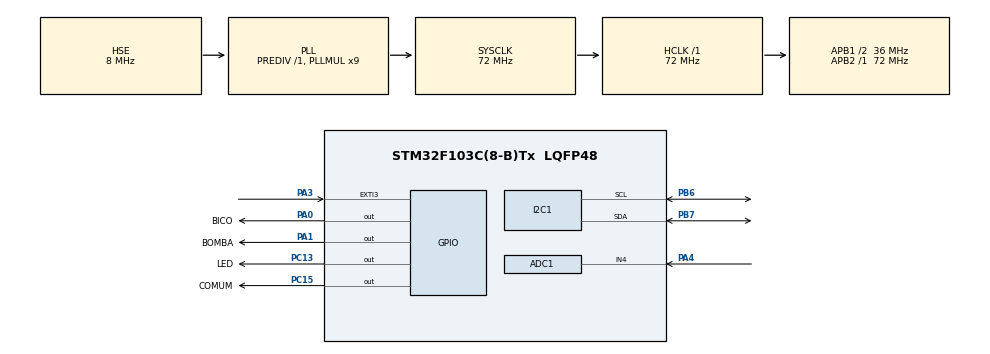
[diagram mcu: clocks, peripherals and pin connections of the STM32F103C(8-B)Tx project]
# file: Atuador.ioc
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ADC1.Channel-1\#ChannelRegularConversion=ADC_CHANNEL_4
ADC1.NbrOfConversionFlag=1
ADC1.Rank-1\#ChannelRegularConversion=1
ADC1.SamplingTime-1\#ChannelRegularConversion=ADC_SAMPLETIME_1CYCLE_5
ADC1.master=1
I2C1.I2C_Mode=I2C_Fast
Mcu.Family=STM32F1
Mcu.Name=STM32F103C(8-B)Tx
Mcu.Package=LQFP48
NVIC.EXTI3_IRQn=true\:0\:0\:false\:false\:true\:true\:true
NVIC.PriorityGroup=NVIC_PRIORITYGROUP_4
NVIC.TIM2_IRQn=true\:0\:0\:false\:false\:true\:true\:true
PA0-WKUP.GPIO_Label=BICO
PA0-WKUP.Signal=GPIO_Output
PA1.GPIO_Label=BOMBA
PA1.Signal=GPIO_Output
PA15.Signal=GPXTI15
PA3.GPIO_ModeDefaultEXTI=GPIO_MODE_IT_FALLING
PA3.GPIO_PuPd=GPIO_PULLUP
PA3.Signal=GPXTI3
PA4.Signal=ADCx_IN4
PB6.Mode=I2C
PB6.Signal=I2C1_SCL
PB7.Mode=I2C
PB7.Signal=I2C1_SDA
PC13-TAMPER-RTC.GPIO_Label=LED
PC13-TAMPER-RTC.Signal=GPIO_Output
PC15-OSC32_OUT.GPIO_Label=COMUM
PC15-OSC32_OUT.GPIO_PuPd=GPIO_PULLDOWN
PC15-OSC32_OUT.Signal=GPIO_Output
PD0-OSC_IN.Mode=HSE-External-Oscillator
PD0-OSC_IN.Signal=RCC_OSC_IN
PD1-OSC_OUT.Mode=HSE-External-Oscillator
PD1-OSC_OUT.Signal=RCC_OSC_OUT
ProjectManager.HeapSize=0x200
ProjectManager.StackSize=0x400
ProjectManager.TargetToolchain=STM32CubeIDE
RCC.ADCPresc=RCC_ADCPCLK2_DIV6
RCC.AHBFreq_Value=72000000
RCC.APB1CLKDivider=RCC_HCLK_DIV2
RCC.APB1Freq_Value=36000000
RCC.APB1TimFreq_Value=72000000
RCC.APB2Freq_Value=72000000
RCC.APB2TimFreq_Value=72000000
RCC.HCLKFreq_Value=72000000
RCC.PLLMUL=RCC_PLL_MUL9
RCC.PLLSourceVirtual=RCC_PLLSOURCE_HSE
RCC.SYSCLKFreq_VALUE=72000000
RCC.SYSCLKSource=RCC_SYSCLKSOURCE_PLLCLK
RCC.USBFreq_Value=72000000
SH.ADCx_IN4.0=ADC1_IN4,IN4
TIM2.AutoReloadPreload=TIM_AUTORELOAD_PRELOAD_ENABLE
TIM2.Period=72-1
TIM2.Prescaler=100-1
VP_SYS_VS_ND.Mode=No_Debug
VP_TIM2_VS_ClockSourceINT.Mode=Internal
board=custom

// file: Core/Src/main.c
/* USER CODE BEGIN Header */
/**
 ******************************************************************************
 * @file           : main.c
 * @brief          : Main program body
 ******************************************************************************
 * @attention
 *
 * <h2><center>&copy; Copyright (c) 2021 STMicroelectronics.
 * All rights reserved.</center></h2>
 *
 * This software component is licensed by ST under BSD 3-Clause license,
 * the "License"; You may not use this file except in compliance with the
 * License. You may obtain a copy of the License at:
 *                        opensource.org/licenses/BSD-3-Clause
 *
 ******************************************************************************
 */
/* USER CODE END Header */
#include "main.h"

/* USER CODE BEGIN Includes */
#include "fonts.h"
#include "bitmap.h"
#include "horse_anim.h"
#include "test.h"
#include <stdio.h>
#include "interval.h"
#include "timeout.h"
#include "ssd1306.h"
#include <stdbool.h>
/* USER CODE END Includes */

ADC_HandleTypeDef hadc1;

I2C_HandleTypeDef hi2c1;

TIM_HandleTypeDef htim2;

/* USER CODE BEGIN PV */

Interval intervalLed;
Interval RPMInterval;

Timeout timeoutBico;
Timeout timeoutBomba;

unsigned long int time = 0;

unsigned long int lastTimeOfPulse = 0;

int rpm = 0;

bool pulsedOnCurrentPulse = true;

/* USER CODE END PV */

void SystemClock_Config(void);
static void MX_GPIO_Init(void);
static void MX_I2C1_Init(void);
static void MX_TIM2_Init(void);
static void MX_ADC1_Init(void);

/* USER CODE BEGIN 0 */
void handleResetRpm() {
	if (time >= lastTimeOfPulse + 10000) {
		rpm = 0;
	}
}

void handleRpmInterval() {
	if (!pulsedOnCurrentPulse) {
		if (rpm < 850 && rpm > 0) {
			if (timeoutBico.timedOut) {
				timeoutBico.resetTimeout(&timeoutBico);
				pulsedOnCurrentPulse = true;
			}
		}
		if (rpm < 900 && rpm > 0) {
			timeoutBomba.resetTimeout(&timeoutBomba);
		}
	}
}

void handler() {
	timeoutBico.handleTimeout(&timeoutBico);
	timeoutBomba.handleTimeout(&timeoutBomba);
	RPMInterval.handle(&RPMInterval);
	handleResetRpm();
	intervalLed.handle(&intervalLed);
}

void HAL_TIM_PeriodElapsedCallback(TIM_HandleTypeDef *htim) {
	if (htim->Instance == TIM2) {
		time++;
		handler();
	}
}

void toggle() {
	HAL_GPIO_TogglePin(LED_GPIO_Port, LED_Pin);
}

void handlePulse() {
	rpm = (int) 300000 / (time - lastTimeOfPulse);
	lastTimeOfPulse = time;
	pulsedOnCurrentPulse = false;
}

void HAL_GPIO_EXTI_Callback(uint16_t GPIO_Pin) {
	if (GPIO_Pin == GPIO_PIN_3) {
		handlePulse();
	} else {
		__NOP();
	}
}

void onTimeOutBico() {
	HAL_GPIO_WritePin(BICO_GPIO_Port, BICO_Pin, GPIO_PIN_RESET);
}

void onResetBico() {
	HAL_GPIO_WritePin(BICO_GPIO_Port, BICO_Pin, GPIO_PIN_SET);
}

void onTimeOutBomba() {
	HAL_GPIO_WritePin(BOMBA_GPIO_Port, BOMBA_Pin, GPIO_PIN_RESET);
}

void onResetBomba() {
	HAL_GPIO_WritePin(BOMBA_GPIO_Port, BOMBA_Pin, GPIO_PIN_SET);
}

/* USER CODE END 0 */

int main(void)
{

  /* MCU Configuration--------------------------------------------------------*/

  /* Reset of all peripherals, Initializes the Flash interface and the Systick. */
  HAL_Init();

  /* Configure the system clock */
  SystemClock_Config();

  /* Initialize all configured peripherals */
  MX_GPIO_Init();
  MX_I2C1_Init();
  MX_TIM2_Init();
  MX_ADC1_Init();
  /* USER CODE BEGIN 2 */
	HAL_ADCEx_Calibration_Start(&hadc1);
	initializeInterval(&intervalLed, &time, 5000, toggle);
	initializeInterval(&RPMInterval, &time, 2000, handleRpmInterval);
	initializeTimeout(&timeoutBico, &time, 140, onTimeOutBico, onResetBico);
	initializeTimeout(&timeoutBomba, &time, 10000, onTimeOutBomba, onResetBomba);
	HAL_TIM_Base_Start_IT(&htim2);

//	uint16_t AD_RES = 0;

	SSD1306_Init();  // initialise

	/// TESTSSSSSSSSS

	TestRectangles(1);

	HAL_Delay(500);
	SSD1306_Clear();
	char buff[20] = "";
	int x = 0, y;
  /* USER CODE END 2 */

  /* Infinite loop */
  /* USER CODE BEGIN WHILE */
	while (1) {
//		HAL_ADC_Start(&hadc1);
//		HAL_ADC_PollForConversion(&hadc1, 1);
//		AD_RES = HAL_ADC_GetValue(&hadc1);

		SSD1306_GotoXY(0, 0);
		SSD1306_Puts("               ", &Font_7x10, 1);
		sprintf(buff, "RPM: %d", rpm);
		SSD1306_GotoXY(0, 0);
		SSD1306_Puts(buff, &Font_7x10, 1);

		y = 63 - (int) (rpm * 53 / 6000);

		if (x <= 127) {
			SSD1306_DrawLine(x, 127, x, y, 1);
			x++;
		} else {
			SSD1306_DrawFilledRectangle(0, 9, 127, 63, 0);
			SSD1306_DrawLine(0, 127, 0, y, 1);
			x = 0;
		}

		SSD1306_UpdateScreen();
	}
    /* USER CODE END WHILE */

}

void SystemClock_Config(void)
{
  RCC_OscInitTypeDef RCC_OscInitStruct = {0};
  RCC_ClkInitTypeDef RCC_ClkInitStruct = {0};
  RCC_PeriphCLKInitTypeDef PeriphClkInit = {0};

  /** Initializes the RCC Oscillators according to the specified parameters
  * in the RCC_OscInitTypeDef structure.
  */
  RCC_OscInitStruct.OscillatorType = RCC_OSCILLATORTYPE_HSE;
  RCC_OscInitStruct.HSEState = RCC_HSE_ON;
  RCC_OscInitStruct.HSEPredivValue = RCC_HSE_PREDIV_DIV1;
  RCC_OscInitStruct.HSIState = RCC_HSI_ON;
  RCC_OscInitStruct.PLL.PLLState = RCC_PLL_ON;
  RCC_OscInitStruct.PLL.PLLSource = RCC_PLLSOURCE_HSE;
  RCC_OscInitStruct.PLL.PLLMUL = RCC_PLL_MUL9;
  if (HAL_RCC_OscConfig(&RCC_OscInitStruct) != HAL_OK)
  {
    Error_Handler();
  }
  /** Initializes the CPU, AHB and APB buses clocks
  */
  RCC_ClkInitStruct.ClockType = RCC_CLOCKTYPE_HCLK|RCC_CLOCKTYPE_SYSCLK
                              |RCC_CLOCKTYPE_PCLK1|RCC_CLOCKTYPE_PCLK2;
  RCC_ClkInitStruct.SYSCLKSource = RCC_SYSCLKSOURCE_PLLCLK;
  RCC_ClkInitStruct.AHBCLKDivider = RCC_SYSCLK_DIV1;
  RCC_ClkInitStruct.APB1CLKDivider = RCC_HCLK_DIV2;
  RCC_ClkInitStruct.APB2CLKDivider = RCC_HCLK_DIV1;

  if (HAL_RCC_ClockConfig(&RCC_ClkInitStruct, FLASH_LATENCY_2) != HAL_OK)
  {
    Error_Handler();
  }
  PeriphClkInit.PeriphClockSelection = RCC_PERIPHCLK_ADC;
  PeriphClkInit.AdcClockSelection = RCC_ADCPCLK2_DIV6;
  if (HAL_RCCEx_PeriphCLKConfig(&PeriphClkInit) != HAL_OK)
  {
    Error_Handler();
  }
}

static void MX_ADC1_Init(void)
{

  ADC_ChannelConfTypeDef sConfig = {0};

  /** Common config
  */
  hadc1.Instance = ADC1;
  hadc1.Init.ScanConvMode = ADC_SCAN_DISABLE;
  hadc1.Init.ContinuousConvMode = DISABLE;
  hadc1.Init.DiscontinuousConvMode = DISABLE;
  hadc1.Init.ExternalTrigConv = ADC_SOFTWARE_START;
  hadc1.Init.DataAlign = ADC_DATAALIGN_RIGHT;
  hadc1.Init.NbrOfConversion = 1;
  if (HAL_ADC_Init(&hadc1) != HAL_OK)
  {
    Error_Handler();
  }
  /** Configure Regular Channel
  */
  sConfig.Channel = ADC_CHANNEL_4;
  sConfig.Rank = ADC_REGULAR_RANK_1;
  sConfig.SamplingTime = ADC_SAMPLETIME_1CYCLE_5;
  if (HAL_ADC_ConfigChannel(&hadc1, &sConfig) != HAL_OK)
  {
    Error_Handler();
  }

}

static void MX_I2C1_Init(void)
{

  hi2c1.Instance = I2C1;
  hi2c1.Init.ClockSpeed = 400000;
  hi2c1.Init.DutyCycle = I2C_DUTYCYCLE_2;
  hi2c1.Init.OwnAddress1 = 0;
  hi2c1.Init.AddressingMode = I2C_ADDRESSINGMODE_7BIT;
  hi2c1.Init.DualAddressMode = I2C_DUALADDRESS_DISABLE;
  hi2c1.Init.OwnAddress2 = 0;
  hi2c1.Init.GeneralCallMode = I2C_GENERALCALL_DISABLE;
  hi2c1.Init.NoStretchMode = I2C_NOSTRETCH_DISABLE;
  if (HAL_I2C_Init(&hi2c1) != HAL_OK)
  {
    Error_Handler();
  }

}

static void MX_TIM2_Init(void)
{

  TIM_ClockConfigTypeDef sClockSourceConfig = {0};
  TIM_MasterConfigTypeDef sMasterConfig = {0};

  htim2.Instance = TIM2;
  htim2.Init.Prescaler = 100-1;
  htim2.Init.CounterMode = TIM_COUNTERMODE_UP;
  htim2.Init.Period = 72-1;
  htim2.Init.ClockDivision = TIM_CLOCKDIVISION_DIV1;
  htim2.Init.AutoReloadPreload = TIM_AUTORELOAD_PRELOAD_ENABLE;
  if (HAL_TIM_Base_Init(&htim2) != HAL_OK)
  {
    Error_Handler();
  }
  sClockSourceConfig.ClockSource = TIM_CLOCKSOURCE_INTERNAL;
  if (HAL_TIM_ConfigClockSource(&htim2, &sClockSourceConfig) != HAL_OK)
  {
    Error_Handler();
  }
  sMasterConfig.MasterOutputTrigger = TIM_TRGO_RESET;
  sMasterConfig.MasterSlaveMode = TIM_MASTERSLAVEMODE_DISABLE;
  if (HAL_TIMEx_MasterConfigSynchronization(&htim2, &sMasterConfig) != HAL_OK)
  {
    Error_Handler();
  }

}

static void MX_GPIO_Init(void)
{
  GPIO_InitTypeDef GPIO_InitStruct = {0};

  /* GPIO Ports Clock Enable */
  __HAL_RCC_GPIOC_CLK_ENABLE();
  __HAL_RCC_GPIOD_CLK_ENABLE();
  __HAL_RCC_GPIOA_CLK_ENABLE();
  __HAL_RCC_GPIOB_CLK_ENABLE();

  /*Configure GPIO pin Output Level */
  HAL_GPIO_WritePin(GPIOC, LED_Pin|COMUM_Pin, GPIO_PIN_RESET);

  /*Configure GPIO pin Output Level */
  HAL_GPIO_WritePin(GPIOA, BICO_Pin|BOMBA_Pin, GPIO_PIN_RESET);

  /*Configure GPIO pin : LED_Pin */
  GPIO_InitStruct.Pin = LED_Pin;
  GPIO_InitStruct.Mode = GPIO_MODE_OUTPUT_PP;
  GPIO_InitStruct.Pull = GPIO_NOPULL;
  GPIO_InitStruct.Speed = GPIO_SPEED_FREQ_LOW;
  HAL_GPIO_Init(LED_GPIO_Port, &GPIO_InitStruct);

  /*Configure GPIO pin : COMUM_Pin */
  GPIO_InitStruct.Pin = COMUM_Pin;
  GPIO_InitStruct.Mode = GPIO_MODE_OUTPUT_PP;
  GPIO_InitStruct.Pull = GPIO_PULLDOWN;
  GPIO_InitStruct.Speed = GPIO_SPEED_FREQ_LOW;
  HAL_GPIO_Init(COMUM_GPIO_Port, &GPIO_InitStruct);

  /*Configure GPIO pins : BICO_Pin BOMBA_Pin */
  GPIO_InitStruct.Pin = BICO_Pin|BOMBA_Pin;
  GPIO_InitStruct.Mode = GPIO_MODE_OUTPUT_PP;
  GPIO_InitStruct.Pull = GPIO_NOPULL;
  GPIO_InitStruct.Speed = GPIO_SPEED_FREQ_LOW;
  HAL_GPIO_Init(GPIOA, &GPIO_InitStruct);

  /*Configure GPIO pin : PA3 */
  GPIO_InitStruct.Pin = GPIO_PIN_3;
  GPIO_InitStruct.Mode = GPIO_MODE_IT_FALLING;
  GPIO_InitStruct.Pull = GPIO_PULLUP;
  HAL_GPIO_Init(GPIOA, &GPIO_InitStruct);

  /*Configure GPIO pin : PA15 */
  GPIO_InitStruct.Pin = GPIO_PIN_15;
  GPIO_InitStruct.Mode = GPIO_MODE_IT_RISING;
  GPIO_InitStruct.Pull = GPIO_NOPULL;
  HAL_GPIO_Init(GPIOA, &GPIO_InitStruct);

  /* EXTI interrupt init*/
  HAL_NVIC_SetPriority(EXTI3_IRQn, 0, 0);
  HAL_NVIC_EnableIRQ(EXTI3_IRQn);

}

void Error_Handler(void)
{
	__disable_irq();
	while (1) {
	}
}

/************************ (C) COPYRIGHT STMicroelectronics *****END OF FILE****/
